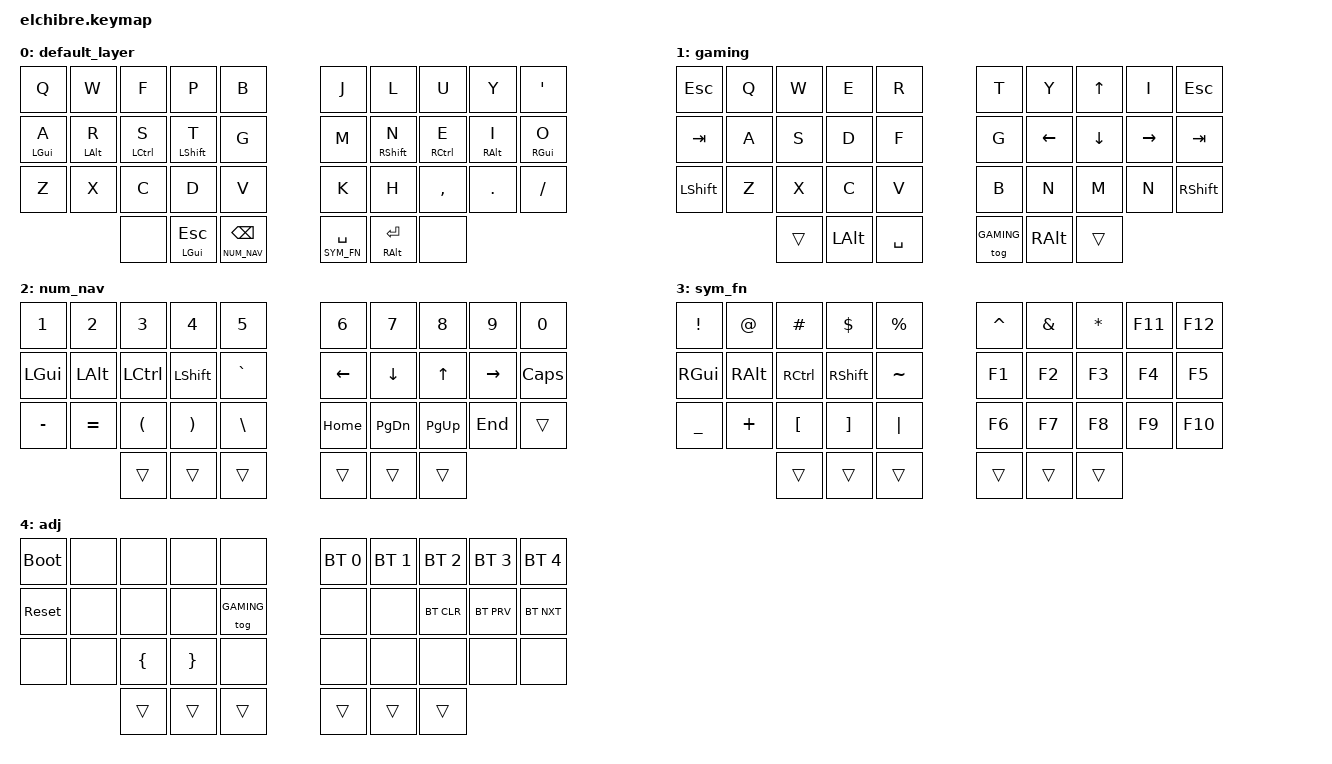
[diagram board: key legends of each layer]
#include <behaviors.dtsi>
#include <dt-bindings/zmk/bt.h>
#include <dt-bindings/zmk/keys.h>
#include <dt-bindings/zmk/outputs.h>

#define DEFAULT 0
#define GAMING  1
#define NUM_NAV 2
#define SYM_FN  3
#define ADJ     4

/ {
    combos {
        /* Key positions
             0   1   2   3   4     5   6   7   8   9
            10  11  12  13  14    15  16  17  18  19
            20  21  22  23  24    25  26  27  28  29
                        30  31    32  33
        */
        
        compatible = "zmk,combos";
        
        #define COMBO(NAME, BINDINGS, KEYPOS) \
          combo_##NAME { \
            bindings = <BINDINGS>; \
            key-positions = <KEYPOS>; \
            layers = <0 2 3 4>; \
          };
        
        COMBO(clkCaps,   &kp CAPS,     7  21  25)
        COMBO(wfEsc,     &kp ESC,      1   2)
        COMBO(fpTab,     &kp TAB,      2   3)
        COMBO(luDel,     &kp DEL,      6   7)
        COMBO(uyBspc,    &kp BSPC,     7   8)
        COMBO(yQuotScln, &kp SEMI,     8   9)
        COMBO(khCol,     &kp COLON,   25  26)
        COMBO(hCommEnt,  &kp RET,     26  27)
    };

    conditional_layers {
        compatible = "zmk,conditional-layers";
        tri_layer {
            if-layers = <2 3>;
            then-layer = <4>;
        };
    };

    behaviors {
        mtp: mod_tap_preferred {
            compatible = "zmk,behavior-hold-tap";
            label = "MOD_TAP_PREFERRED";
            #binding-cells = <2>;
            tapping-term-ms = <200>;
            flavor = "tap-preferred";
            bindings = <&kp>, <&kp>;
        };
    };

    keymap {
        compatible = "zmk,keymap";

        default_layer {
            bindings = <
    &kp Q         &kp W        &kp F          &kp P         &kp B             &kp J          &kp L         &kp U          &kp Y        &kp SQT
    &mtp LGUI A   &mtp LALT R  &mtp LCTRL S   &mtp LSHFT T  &kp G             &kp M          &mtp RSHFT N  &mtp RCTRL E   &mtp RALT I  &mtp RGUI O
    &kp Z         &kp X        &kp C          &kp D         &kp V             &kp K          &kp H         &kp COMMA      &kp DOT      &kp FSLH  
                               &none    &mtp LGUI ESC       &lt NUM_NAV BSPC  &lt SYM_FN SPACE             &mtp RALT RET  &none
            >;
        };

        gaming {
            bindings = <
    &kp ESC    &kp Q   &kp W      &kp E   &kp R                     &kp T         &kp Y      &kp UP     &kp I       &kp ESC    
    &kp TAB    &kp A   &kp S      &kp D   &kp F                     &kp G         &kp LEFT   &kp DOWN   &kp RIGHT   &kp TAB    
    &kp LSHFT  &kp Z   &kp X      &kp C   &kp V                     &kp B         &kp N      &kp M      &kp N       &kp RSHFT
               &trans  &kp LALT           &kp SPACE                 &tog GAMING              &kp RALT   &trans
            >;
        };

        num_nav {
            bindings = <
    &kp N1     &kp N2     &kp N3     &kp N4     &kp N5              &kp N6     &kp N7       &kp N8      &kp N9       &kp N0
    &kp LGUI   &kp LALT   &kp LCTRL  &kp LSHFT  &kp GRAVE           &kp LEFT   &kp DOWN     &kp UP      &kp RIGHT    &kp CAPS
    &kp MINUS  &kp EQUAL  &kp LPAR   &kp RPAR   &kp BSLH            &kp HOME   &kp PG_DN    &kp PG_UP   &kp END      &trans     
                          &trans     &trans     &trans              &trans     &trans       &trans
            >;
        };

        sym_fn {
            bindings = <
    &kp EXCL    &kp AT     &kp HASH   &kp DLLR    &kp PRCNT          &kp CARET   &kp AMPS    &kp ASTRK   &kp F11    &kp F12
    &kp RGUI    &kp RALT   &kp RCTRL  &kp RSHFT   &kp TILDE          &kp F1      &kp F2      &kp F3      &kp F4     &kp F5
    &kp UNDER   &kp PLUS   &kp LBKT   &kp RBKT    &kp PIPE           &kp F6      &kp F7      &kp F8      &kp F9     &kp F10
                           &trans     &trans     &trans              &trans      &trans      &trans
            >;
        };

        adj {
            bindings = <
    &bootloader     &none   &none      &none      &none            &bt BT_SEL 0 &bt BT_SEL 1 &bt BT_SEL 2     &bt BT_SEL 3      &bt BT_SEL 4
    &sys_reset      &none   &none      &none      &tog GAMING      &none        &none        &bt BT_CLR       &bt BT_PRV        &bt BT_NXT    
    &none           &none   &kp LBRC   &kp RBRC   &none            &none        &none        &none            &none             &none
                            &trans     &trans     &trans           &trans       &trans       &trans
            >;
        };
    };
};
